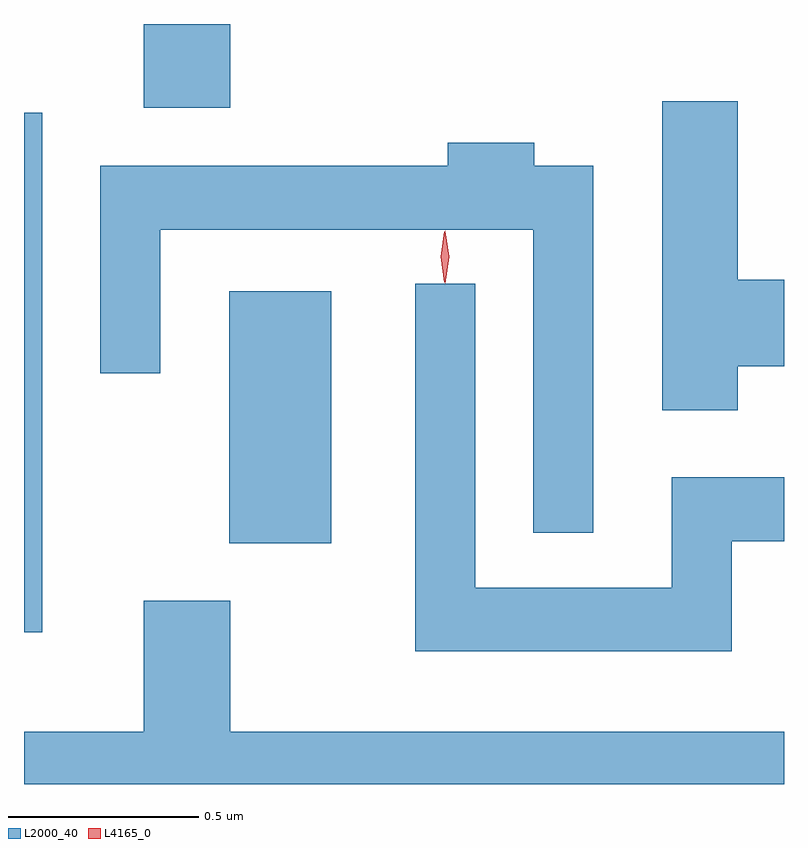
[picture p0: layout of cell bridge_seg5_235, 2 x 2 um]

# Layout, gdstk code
import gdstk
lib = gdstk.Library(unit=1e-6, precision=1e-09)
def R(c, l, rs):  # rectangles x0, y0, x1, y1
    for r in rs: c.add(gdstk.rectangle(r[:2], r[2:], *l))
def P(c, l, *ps):  # polygons
    for p in ps: c.add(gdstk.Polygon(p, *l))
L2000_40 = (2000, 40)
L4165_0 = (4165, 0)

bridge_seg5_235 = lib.new_cell('bridge_seg5_235')
R(bridge_seg5_235, L2000_40, [(1338.416,1426.246,1338.464,1427.613), (1338.956,1426.481,1339.224,1427.144), (1338.731,1427.626,1338.959,1427.847)])
P(bridge_seg5_235, L2000_40, [(1340.294,1426.946),(1340.416,1426.946),(1340.416,1427.174),(1340.294,1427.174),(1340.294,1427.644),(1340.096,1427.644),(1340.096,1426.831),(1340.294,1426.831)],
  [(1339.914,1427.474),(1339.759,1427.474),(1339.759,1427.534),(1339.531,1427.534),(1339.531,1427.474),(1338.616,1427.474),(1338.616,1426.928),(1338.774,1426.928),(1338.774,1427.306),(1339.756,1427.306),(1339.756,1426.508),(1339.914,1426.508)],
  [(1340.279,1426.486),(1340.416,1426.486),(1340.416,1426.654),(1340.121,1426.654),(1340.121,1426.364),(1339.604,1426.364),(1339.604,1427.163),(1339.446,1427.163),(1339.446,1426.196),(1340.279,1426.196)],
  [(1340.416,1425.984),(1338.959,1425.984),(1338.959,1426.329),(1338.731,1426.329),(1338.731,1425.984),(1338.416,1425.984),(1338.416,1425.847),(1340.416,1425.847)])
P(bridge_seg5_235, L4165_0, [(1339.524,1427.164),(1339.515,1427.234),(1339.524,1427.302),(1339.525,1427.303),(1339.525,1427.302),(1339.535,1427.234),(1339.525,1427.164),(1339.525,1427.164)],
  [(1339.522,1427.167),(1339.513,1427.234),(1339.522,1427.3),(1339.523,1427.3),(1339.523,1427.3),(1339.533,1427.234),(1339.523,1427.167),(1339.523,1427.167)])

lib.write_gds('bridge_seg5_235.gds')
